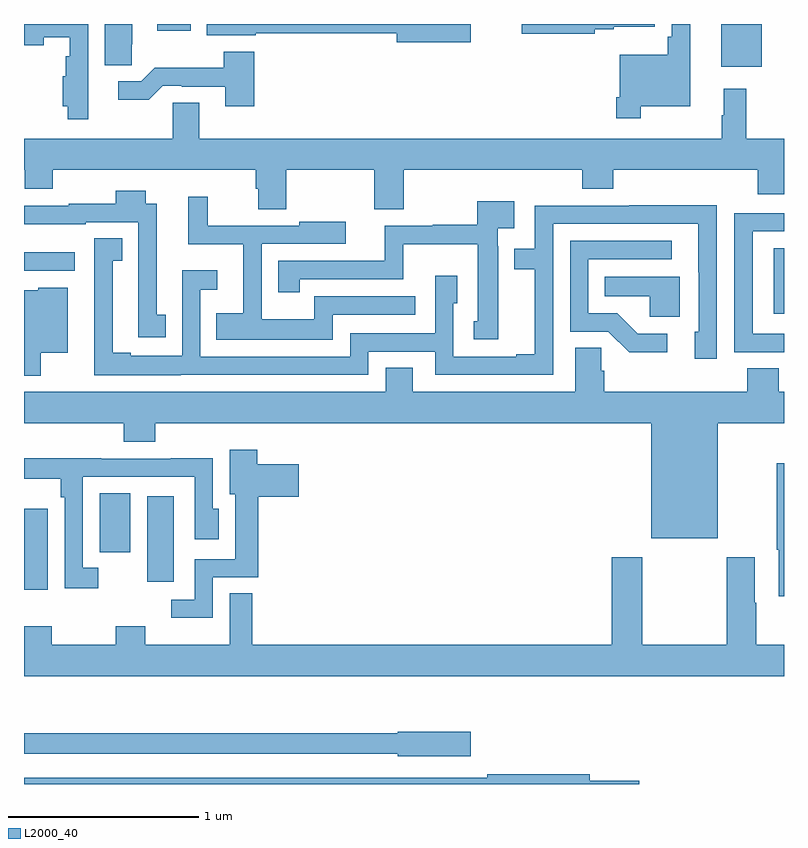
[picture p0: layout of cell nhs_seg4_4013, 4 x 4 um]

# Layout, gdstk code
import gdstk
lib = gdstk.Library(unit=1e-6, precision=1e-09)
def R(c, l, rs):  # rectangles x0, y0, x1, y1
    for r in rs: c.add(gdstk.rectangle(r[:2], r[2:], *l))
def P(c, l, *ps):  # polygons
    for p in ps: c.add(gdstk.Polygon(p, *l))
L2000_40 = (2000, 40)

nhs_seg4_4013 = lib.new_cell('nhs_seg4_4013')
R(nhs_seg4_4013, L2000_40, [(323,815.922,323.125,816.349), (323.648,815.964,323.788,816.415), (323.399,816.12,323.56,816.431), (326.945,817.376,327,817.72), (323,817.602,323.266,817.699), (326.669,818.675,326.884,818.9), (323.7,818.864,323.877,818.9)])
P(nhs_seg4_4013, L2000_40, [(323.568,818.794),(323.569,818.794),(323.569,818.9),(323.426,818.9),(323.426,818.683),(323.568,818.683)],
  [(326.245,818.468),(326.506,818.468),(326.506,818.9),(326.409,818.9),(326.409,818.833),(326.389,818.833),(326.389,818.737),(326.136,818.737),(326.136,818.515),(326.116,818.515),(326.116,818.403),(326.245,818.403)],
  [(326.004,818.873),(326.104,818.873),(326.104,818.885),(326.32,818.885),(326.32,818.9),(325.62,818.9),(325.62,818.849),(326.004,818.849)],
  [(325.351,818.9),(323.962,818.9),(323.962,818.84),(324.22,818.84),(324.22,818.851),(324.962,818.851),(324.962,818.804),(325.351,818.804)],
  [(323.338,818.622),(323.337,818.622),(323.337,818.9),(323,818.9),(323,818.789),(323.104,818.789),(323.104,818.831),(323.24,818.831),(323.24,818.729),(323.221,818.729),(323.221,818.626),(323.204,818.626),(323.204,818.468),(323.229,818.468),(323.229,818.4),(323.338,818.4)],
  [(324.212,818.755),(324.052,818.755),(324.052,818.671),(323.689,818.671),(323.616,818.598),(323.496,818.598),(323.496,818.501),(323.657,818.501),(323.73,818.574),(323.83,818.574),(323.83,818.571),(324.059,818.571),(324.059,818.466),(324.212,818.466)],
  [(324.381,818.132),(324.844,818.132),(324.844,817.924),(324.999,817.924),(324.999,818.132),(325.937,818.132),(325.937,818.033),(326.102,818.033),(326.102,818.132),(326.861,818.132),(326.861,818.004),(327,818.004),(327,818.296),(326.801,818.296),(326.801,818.56),(326.684,818.56),(326.684,818.42),(326.673,818.42),(326.673,818.296),(323.923,818.296),(323.923,818.486),(323.784,818.486),(323.784,818.296),(323,818.296),(323,818.132),(323.003,818.132),(323.003,818.033),(323.151,818.033),(323.151,818.132),(324.221,818.132),(324.221,818.034),(324.233,818.034),(324.233,817.924),(324.381,817.924)],
  [(323.747,817.371),(323.698,817.371),(323.698,817.953),(323.641,817.953),(323.641,818.023),(323.482,818.023),(323.482,817.954),(323.235,817.954),(323.235,817.944),(323,817.944),(323,817.847),(323.325,817.847),(323.325,817.857),(323.601,817.857),(323.601,817.574),(323.6,817.574),(323.6,817.251),(323.747,817.251)],
  [(324.624,817.371),(325.06,817.371),(325.06,817.467),(324.631,817.467),(324.631,817.466),(324.528,817.466),(324.528,817.345),(324.252,817.345),(324.252,817.743),(324.694,817.743),(324.694,817.858),(324.449,817.858),(324.449,817.839),(323.966,817.839),(323.966,817.99),(323.864,817.99),(323.864,817.742),(324.155,817.742),(324.155,817.378),(324.013,817.378),(324.013,817.238),(324.624,817.238)],
  [(325.495,817.73),(325.494,817.73),(325.494,817.826),(325.579,817.826),(325.579,817.966),(325.386,817.966),(325.386,817.844),(325.152,817.844),(325.152,817.839),(324.899,817.839),(324.899,817.653),(324.337,817.653),(324.337,817.488),(324.45,817.488),(324.45,817.557),(324.997,817.557),(324.997,817.742),(325.388,817.742),(325.388,817.335),(325.367,817.335),(325.367,817.242),(325.495,817.242)],
  [(323.825,817.053),(324.813,817.053),(324.813,817.176),(325.164,817.176),(325.164,817.053),(325.785,817.053),(325.785,817.848),(326.549,817.848),(326.549,817.594),(326.55,817.594),(326.55,817.281),(326.531,817.281),(326.531,817.137),(326.646,817.137),(326.646,817.946),(326.185,817.946),(326.185,817.944),(325.689,817.944),(325.689,817.716),(325.58,817.716),(325.58,817.608),(325.688,817.608),(325.688,817.162),(325.592,817.162),(325.592,817.149),(325.26,817.149),(325.26,817.431),(325.279,817.431),(325.279,817.576),(325.164,817.576),(325.164,817.272),(324.717,817.272),(324.717,817.149),(323.928,817.149),(323.928,817.502),(324.016,817.502),(324.016,817.603),(323.832,817.603),(323.832,817.153),(323.563,817.153),(323.563,817.171),(323.467,817.171),(323.467,817.654),(323.516,817.654),(323.516,817.772),(323.37,817.772),(323.37,817.509),(323.369,817.509),(323.369,817.052),(323.825,817.052)],
  [(327,817.269),(326.835,817.269),(326.835,817.809),(327,817.809),(327,817.905),(326.739,817.905),(326.739,817.173),(327,817.173)],
  [(326.386,817.269),(326.23,817.269),(326.122,817.377),(325.971,817.377),(325.971,817.662),(326.41,817.662),(326.41,817.758),(325.875,817.758),(325.875,817.281),(326.076,817.281),(326.186,817.172),(326.386,817.172)],
  [(326.452,817.57),(326.056,817.57),(326.056,817.466),(326.294,817.466),(326.294,817.358),(326.452,817.358)],
  [(323.089,817.169),(323.23,817.169),(323.23,817.513),(323.076,817.513),(323.076,817.498),(323,817.498),(323,817.049),(323.089,817.049)],
  [(326.054,817.076),(326.039,817.076),(326.039,817.196),(325.901,817.196),(325.901,816.964),(325.045,816.964),(325.045,817.091),(324.905,817.091),(324.905,816.964),(323,816.964),(323,816.8),(323.525,816.8),(323.525,816.701),(323.69,816.701),(323.69,816.8),(326.3,816.8),(326.3,816.194),(326.65,816.194),(326.65,816.8),(327,816.8),(327,816.964),(326.972,816.964),(326.972,817.088),(326.807,817.088),(326.807,816.964),(326.054,816.964)],
  [(323.994,815.988),(324.232,815.988),(324.232,816.413),(324.445,816.413),(324.445,816.583),(324.227,816.583),(324.227,816.658),(324.083,816.658),(324.083,816.425),(324.113,816.425),(324.113,816.084),(323.898,816.084),(323.898,815.871),(323.775,815.871),(323.775,815.774),(323.994,815.774)],
  [(323.392,816.039),(323.31,816.039),(323.31,816.516),(323.898,816.516),(323.898,816.189),(324.025,816.189),(324.025,816.348),(323.994,816.348),(323.994,816.614),(323.773,816.614),(323.773,816.612),(323.407,816.612),(323.407,816.614),(323,816.614),(323,816.506),(323.194,816.506),(323.194,816.41),(323.214,816.41),(323.214,815.931),(323.392,815.931)],
  [(327,816.589),(326.961,816.589),(326.961,816.133),(326.973,816.133),(326.973,815.889),(327,815.889)],
  [(327,815.632),(326.853,815.632),(326.853,815.855),(326.845,815.855),(326.845,816.094),(326.698,816.094),(326.698,815.632),(326.253,815.632),(326.253,816.094),(326.093,816.094),(326.093,815.632),(324.202,815.632),(324.202,815.903),(324.083,815.903),(324.083,815.632),(323.637,815.632),(323.637,815.731),(323.482,815.731),(323.482,815.632),(323.145,815.632),(323.145,815.731),(323,815.731),(323,815.468),(327,815.468)],
  [(325.351,815.175),(324.966,815.175),(324.966,815.167),(323,815.167),(323,815.058),(324.966,815.058),(324.966,815.045),(325.351,815.045)],
  [(326.239,814.916),(325.978,814.916),(325.978,814.952),(325.438,814.952),(325.438,814.932),(323,814.932),(323,814.9),(326.239,814.9)])

lib.write_gds('nhs_seg4_4013.gds')
